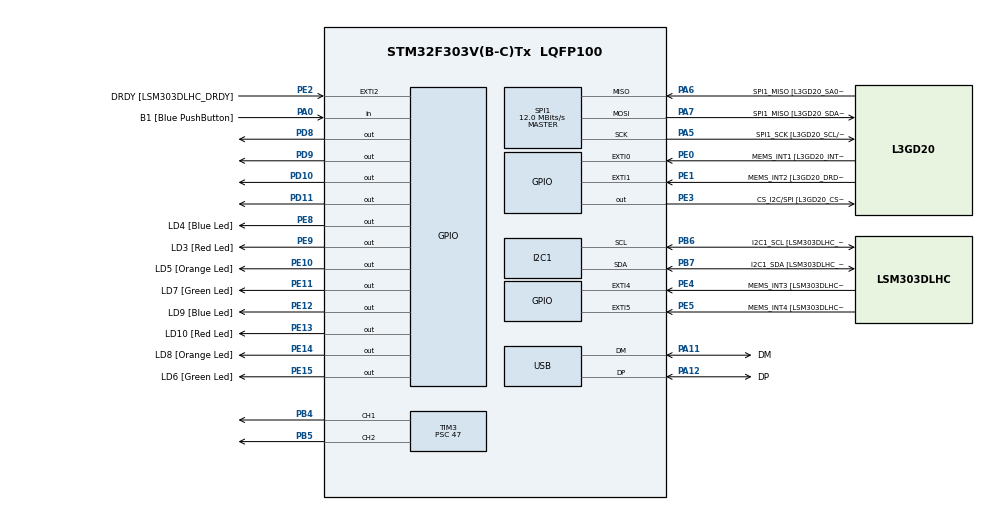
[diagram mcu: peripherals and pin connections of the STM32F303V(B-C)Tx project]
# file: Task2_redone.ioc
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I2C1.Timing=0x00201D2B
I2C1.Timing-I2C=0x2000090E
Mcu.Family=STM32F3
Mcu.Name=STM32F303V(B-C)Tx
Mcu.Package=LQFP100
NVIC.I2C1_EV_IRQn=true\:0\:0\:false\:false\:true\:true\:true\:true
NVIC.PriorityGroup=NVIC_PRIORITYGROUP_0
NVIC.TIM6_DAC_IRQn=true\:0\:0\:false\:false\:true\:true\:true\:true
PA0.GPIO_Label=B1 [Blue PushButton]
PA0.Signal=GPIO_Input
PA11.GPIO_Label=DM
PA11.Mode=Device
PA11.Signal=USB_DM
PA12.GPIO_Label=DP
PA12.Mode=Device
PA12.Signal=USB_DP
PA13.GPIO_Label=SWDIO
PA13.Mode=Serial_Wire
PA13.Signal=SYS_JTMS-SWDIO
PA14.GPIO_Label=SWCLK
PA14.Mode=Serial_Wire
PA14.Signal=SYS_JTCK-SWCLK
PA5.GPIO_Label=SPI1_SCK [L3GD20_SCL/SPC]
PA5.Mode=Full_Duplex_Master
PA5.Signal=SPI1_SCK
PA6.GPIO_Label=SPI1_MISO [L3GD20_SA0/SDO]
PA6.Mode=Full_Duplex_Master
PA6.Signal=SPI1_MISO
PA7.GPIO_Label=SPI1_MISO [L3GD20_SDA/SDI/SDO]
PA7.Mode=Full_Duplex_Master
PA7.Signal=SPI1_MOSI
PB3.GPIO_Label=SWO
PB3.Signal=SYS_JTDO-TRACESWO
PB4.Signal=S_TIM3_CH1
PB5.Signal=S_TIM3_CH2
PB6.GPIO_Label=I2C1_SCL [LSM303DLHC_SCL]
PB6.GPIO_Pu=GPIO_PULLUP
PB6.Mode=I2C
PB6.Signal=I2C1_SCL
PB7.GPIO_Label=I2C1_SDA [LSM303DLHC_SDA]
PB7.GPIO_Pu=GPIO_PULLUP
PB7.Mode=I2C
PB7.Signal=I2C1_SDA
PC14-OSC32_IN.GPIO_Label=OSC32_IN
PC14-OSC32_IN.Signal=RCC_OSC32_IN
PC15-OSC32_OUT.GPIO_Label=OSC32_OUT
PC15-OSC32_OUT.Signal=RCC_OSC32_OUT
PD10.Signal=GPIO_Output
PD11.Signal=GPIO_Output
PD8.Signal=GPIO_Output
PD9.Signal=GPIO_Output
PE0.GPIO_Label=MEMS_INT1 [L3GD20_INT1]
PE0.GPIO_ModeDefaultEXTI=GPIO_MODE_EVT_RISING
PE0.Signal=GPXTI0
PE1.GPIO_Label=MEMS_INT2 [L3GD20_DRDY/INT2]
PE1.GPIO_ModeDefaultEXTI=GPIO_MODE_EVT_RISING
PE1.Signal=GPXTI1
PE10.GPIO_Label=LD5 [Orange Led]
PE10.Signal=GPIO_Output
PE11.GPIO_Label=LD7 [Green Led]
PE11.Signal=GPIO_Output
PE12.GPIO_Label=LD9 [Blue Led]
PE12.Signal=GPIO_Output
PE13.GPIO_Label=LD10 [Red Led]
PE13.Signal=GPIO_Output
PE14.GPIO_Label=LD8 [Orange Led]
PE14.Signal=GPIO_Output
PE15.GPIO_Label=LD6 [Green Led]
PE15.Signal=GPIO_Output
PE2.GPIO_Label=DRDY [LSM303DLHC_DRDY]
PE2.GPIO_ModeDefaultEXTI=GPIO_MODE_EVT_RISING
PE2.Signal=GPXTI2
PE3.GPIO_Label=CS_I2C/SPI [L3GD20_CS_I2C/SPI]
PE3.Signal=GPIO_Output
PE4.GPIO_Label=MEMS_INT3 [LSM303DLHC_INT1]
PE4.GPIO_ModeDefaultEXTI=GPIO_MODE_EVT_RISING
PE4.Signal=GPXTI4
PE5.GPIO_Label=MEMS_INT4 [LSM303DLHC_INT2]
PE5.GPIO_ModeDefaultEXTI=GPIO_MODE_EVT_RISING
PE5.Signal=GPXTI5
PE8.GPIO_Label=LD4 [Blue Led]
PE8.Signal=GPIO_Output
PE9.GPIO_Label=LD3 [Red Led]
PE9.Signal=GPIO_Output
PF0-OSC_IN.GPIO_Label=OSC_IN
PF0-OSC_IN.Mode=HSE-External-Clock-Source
PF0-OSC_IN.Signal=RCC_OSC_IN
PF1-OSC_OUT.GPIO_Label=OSC_OUT
PF1-OSC_OUT.Signal=RCC_OSC_OUT
ProjectManager.HeapSize=0x200
ProjectManager.StackSize=0x400
ProjectManager.TargetToolchain=CMake
RCC.AHBFreq_Value=48000000
RCC.APB1CLKDivider=RCC_HCLK_DIV2
RCC.APB1Freq_Value=24000000
RCC.APB1TimFreq_Value=48000000
RCC.APB2Freq_Value=48000000
RCC.APB2TimFreq_Value=48000000
RCC.CortexFreq_Value=48000000
RCC.HCLKFreq_Value=48000000
RCC.HSE_VALUE=8000000
RCC.HSI_VALUE=8000000
RCC.LSE_VALUE=32768
RCC.PLLMUL=RCC_PLL_MUL6
RCC.SYSCLKFreq_VALUE=48000000
RCC.SYSCLKSourceVirtual=RCC_SYSCLKSOURCE_PLLCLK
RCC.USBFreq_Value=48000000
SH.S_TIM3_CH1.0=TIM3_CH1,PWM Generation1 CH1
SH.S_TIM3_CH2.0=TIM3_CH2,PWM Generation2 CH2
SPI1.BaudRatePrescaler=SPI_BAUDRATEPRESCALER_4
SPI1.BaudRatePrescaler-Full_Duplex_Master=SPI_BAUDRATEPRESCALER_2
SPI1.CalculateBaudRate=12.0 MBits/s
SPI1.CalculateBaudRate-Full_Duplex_Master=24.0 MBits/s
SPI1.DataSize=SPI_DATASIZE_8BIT
SPI1.Direction=SPI_DIRECTION_2LINES
SPI1.Mode=SPI_MODE_MASTER
SPI1.Mode-Full_Duplex_Master=SPI_MODE_MASTER
SPI1.VirtualType=VM_MASTER
TIM3.Channel-PWM\ Generation1\ CH1=TIM_CHANNEL_1
TIM3.Channel-PWM\ Generation2\ CH2=TIM_CHANNEL_2
TIM3.Period=999
TIM3.Prescaler=47
TIM6.Period=499
TIM6.Prescaler=479
VP_TIM6_VS_ClockSourceINT.Mode=Enable_Timer
board=STM32F3DISCOVERY

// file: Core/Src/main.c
/* USER CODE BEGIN Header */
/**
******************************************************************************
* @file           : main.c
* @brief          : Main program body
******************************************************************************
* @attention
*
* Copyright (c) 2026 STMicroelectronics.
* All rights reserved.
*
* This software is licensed under terms that can be found in the LICENSE file
* in the root directory of this software component.
* If no LICENSE file comes with this software, it is provided AS-IS.
*
******************************************************************************
*/
/* USER CODE END Header */
#include "main.h"
#include <stdint.h>
#include <math.h>

I2C_HandleTypeDef hi2c1;

SPI_HandleTypeDef hspi1;

TIM_HandleTypeDef htim3;
TIM_HandleTypeDef htim6;

PCD_HandleTypeDef hpcd_USB_FS;

/* USER CODE BEGIN PV */
/* Accelerometer Defines */
#define ACC_ADDR            (0x19 << 1)
#define CTRL_REG1_A         0x20
#define CTRL_REG4_A         0x23
#define OUT_X_L_A           0x28

/* Gyroscope Defines */
#define GYRO_CS_PORT        GPIOE
#define GYRO_CS_PIN         GPIO_PIN_3
#define GYRO_READ_BIT       0x80
#define GYRO_MULTI_BIT      0x40
#define CTRL_REG1_G         0x20
#define CTRL_REG4_G         0x23
#define OUT_X_L_G           0x28

/* Constants */
#define ACC_SENS            0.00098f
#define GYRO_SENS           0.00875f
#define RAD_TO_DEG          57.2957795f
#define DT                  0.005f      /* 200 Hz */
#define PWM_MAX             255.0f
#define INTEGRAL_LIMIT      300.0f

/* Peripheral Handles */
I2C_HandleTypeDef hi2c1;
SPI_HandleTypeDef hspi1;
TIM_HandleTypeDef htim3;
TIM_HandleTypeDef htim6;

/* Data Structures */
typedef struct
{
 int16_t x_raw;
 int16_t y_raw;
 int16_t z_raw;
 float x_g;
 float y_g;
 float z_g;
} AccelData;

typedef struct
{
 int16_t x_raw;
 int16_t y_raw;
 int16_t z_raw;
 float x_dps;
 float y_dps;
 float z_dps;
} GyroData;

/* Global Variables */
AccelData acc;
GyroData gyro;

volatile uint8_t sample_ready = 0;

float acc_offset = 0.0f;
float acc_angle = 0.0f;
float gyro_rate = 0.0f;
float angle = 0.0f;
float gyro_rate_filtered = 0.0f;

float setpoint = 0.8f;
float error = 0.0f;
float prev_error = 0.0f;
float integral = 0.0f;
float derivative = 0.0f;
float pid_output = 0.0f;
float derivative_filtered = 0.0f;  // global

/* PID gains */
float Kp = 20.0f;
float Ki = 0.25f;
float Kd = 0.8f;

#define PWM_MAX             60.0f
#define PWM_MIN_START       15.0f
#define TILT_ENABLE_DEG     20.0f

/* USER CODE END PV */

void SystemClock_Config(void);
static void MX_GPIO_Init(void);
static void MX_I2C1_Init(void);
static void MX_SPI1_Init(void);
static void MX_TIM3_Init(void);
static void MX_TIM6_Init(void);
static void MX_USB_PCD_Init(void);
/* USER CODE BEGIN PFP */
/* Function Prototypes */
void SystemClock_Config(void);
static void MX_GPIO_Init(void);
static void MX_I2C1_Init(void);
static void MX_SPI1_Init(void);
static void MX_TIM3_Init(void);
static void MX_TIM6_Init(void);

/* USER CODE END PFP */

/* USER CODE BEGIN 0 */
/* Accelerometer Functions */
void accel_init(void)
{
 uint8_t data;

 data = 0x57;    /* ODR = 100 Hz, all axes enabled */
 HAL_I2C_Mem_Write(&hi2c1, ACC_ADDR, CTRL_REG1_A, I2C_MEMADD_SIZE_8BIT, &data, 1, HAL_MAX_DELAY);

 data = 0x88;    /* Same as your Task 1 reference */
 HAL_I2C_Mem_Write(&hi2c1, ACC_ADDR, CTRL_REG4_A, I2C_MEMADD_SIZE_8BIT, &data, 1, HAL_MAX_DELAY);
}

void accel_read_raw(void)
{
 uint8_t buf[6];

 HAL_I2C_Mem_Read(&hi2c1, ACC_ADDR, OUT_X_L_A | 0x80, I2C_MEMADD_SIZE_8BIT, buf, 6, HAL_MAX_DELAY);

 acc.x_raw = (int16_t)((buf[1] << 8) | buf[0]);
 acc.y_raw = (int16_t)((buf[3] << 8) | buf[2]);
 acc.z_raw = (int16_t)((buf[5] << 8) | buf[4]);

 acc.x_raw >>= 4;
 acc.y_raw >>= 4;
 acc.z_raw >>= 4;
}

void accel_convert(void)
{
 acc.x_g = acc.x_raw * ACC_SENS;
 acc.y_g = acc.y_raw * ACC_SENS;
 acc.z_g = acc.z_raw * ACC_SENS;
}

/* Gyroscope Functions */
void gyro_write_register(uint8_t reg_addr, uint8_t value)
{
 uint8_t tx[2];

 tx[0] = reg_addr;
 tx[1] = value;

 HAL_GPIO_WritePin(GYRO_CS_PORT, GYRO_CS_PIN, GPIO_PIN_RESET);
 HAL_SPI_Transmit(&hspi1, tx, 2, HAL_MAX_DELAY);
 HAL_GPIO_WritePin(GYRO_CS_PORT, GYRO_CS_PIN, GPIO_PIN_SET);
}

void gyro_init(void)
{
 HAL_GPIO_WritePin(GYRO_CS_PORT, GYRO_CS_PIN, GPIO_PIN_SET);
 HAL_Delay(100);

 gyro_write_register(CTRL_REG1_G, 0x0F);   /* Power on, all axes enabled */
 gyro_write_register(CTRL_REG4_G, 0x80);   /* BDU = 1, 245 dps */
}

void gyro_read_raw(void)
{
 uint8_t tx[7];
 uint8_t rx[7];

 tx[0] = GYRO_READ_BIT | GYRO_MULTI_BIT | OUT_X_L_G;
 for (int i = 1; i < 7; i++)
 {
     tx[i] = 0x00;
 }

 HAL_GPIO_WritePin(GYRO_CS_PORT, GYRO_CS_PIN, GPIO_PIN_RESET);
 HAL_SPI_TransmitReceive(&hspi1, tx, rx, 7, HAL_MAX_DELAY);
 HAL_GPIO_WritePin(GYRO_CS_PORT, GYRO_CS_PIN, GPIO_PIN_SET);

 gyro.x_raw = (int16_t)((rx[2] << 8) | rx[1]);
 gyro.y_raw = (int16_t)((rx[4] << 8) | rx[3]);
 gyro.z_raw = (int16_t)((rx[6] << 8) | rx[5]);
}

void gyro_convert(void)
{
 gyro.x_dps = gyro.x_raw * GYRO_SENS;
 gyro.y_dps = gyro.y_raw * GYRO_SENS;
 gyro.z_dps = gyro.z_raw * GYRO_SENS;
}

/* IMU Processing with Complementary Filter (Y-axis) */
void imu_process(void)
{
 accel_read_raw();
 accel_convert();

 gyro_read_raw();
 gyro_convert(); gyro_rate_filtered = 0.7f * gyro_rate_filtered + 0.3f * gyro.y_dps;
 gyro_rate = gyro_rate_filtered;

 acc_angle = atan2f(acc.y_g, acc.z_g) * RAD_TO_DEG - acc_offset;
 // gyro_rate = gyro.y_dps;

 angle = 0.98f * (angle + gyro_rate * DT) + 0.02f * acc_angle;
}

/* Motor Functions */
/* Right motor: PD8, PD9, PB4 (TIM3 CH1) */
/* Left motor : PD10, PD11, PB5 (TIM3 CH2) */

static uint16_t speed_to_ccr(uint8_t speed)
{
 return (uint16_t)((speed * 1000U) / 255U);
}

static void RightMotor_Forward(uint8_t speed)
{
 HAL_GPIO_WritePin(GPIOD, GPIO_PIN_8, GPIO_PIN_SET);
 HAL_GPIO_WritePin(GPIOD, GPIO_PIN_9, GPIO_PIN_RESET);
 __HAL_TIM_SET_COMPARE(&htim3, TIM_CHANNEL_1, speed_to_ccr(speed));
}

static void RightMotor_Backward(uint8_t speed)
{
 HAL_GPIO_WritePin(GPIOD, GPIO_PIN_8, GPIO_PIN_RESET);
 HAL_GPIO_WritePin(GPIOD, GPIO_PIN_9, GPIO_PIN_SET);
 __HAL_TIM_SET_COMPARE(&htim3, TIM_CHANNEL_1, speed_to_ccr(speed));
}

static void RightMotor_Stop(void)
{
 HAL_GPIO_WritePin(GPIOD, GPIO_PIN_8, GPIO_PIN_SET);
 HAL_GPIO_WritePin(GPIOD, GPIO_PIN_9, GPIO_PIN_SET);
 __HAL_TIM_SET_COMPARE(&htim3, TIM_CHANNEL_1, 0);
}

static void LeftMotor_Forward(uint8_t speed)
{
 HAL_GPIO_WritePin(GPIOD, GPIO_PIN_10, GPIO_PIN_SET);
 HAL_GPIO_WritePin(GPIOD, GPIO_PIN_11, GPIO_PIN_RESET);
 __HAL_TIM_SET_COMPARE(&htim3, TIM_CHANNEL_2, speed_to_ccr(speed));
}

static void LeftMotor_Backward(uint8_t speed)
{
 HAL_GPIO_WritePin(GPIOD, GPIO_PIN_10, GPIO_PIN_RESET);
 HAL_GPIO_WritePin(GPIOD, GPIO_PIN_11, GPIO_PIN_SET);
 __HAL_TIM_SET_COMPARE(&htim3, TIM_CHANNEL_2, speed_to_ccr(speed));
}

static void LeftMotor_Stop(void)
{
 HAL_GPIO_WritePin(GPIOD, GPIO_PIN_10, GPIO_PIN_SET);
 HAL_GPIO_WritePin(GPIOD, GPIO_PIN_11, GPIO_PIN_SET);
 __HAL_TIM_SET_COMPARE(&htim3, TIM_CHANNEL_2, 0);
}

static void Motors_Stop(void)
{
 RightMotor_Stop();
 LeftMotor_Stop();
}

static void Motors_Forward(uint8_t speed)
{
 RightMotor_Forward(speed);
 LeftMotor_Forward(speed);
}

static void Motors_Backward(uint8_t speed)
{
 RightMotor_Backward(speed);
 LeftMotor_Backward(speed);
}

/* PID Functions */
static float clamp_float(float value, float min_val, float max_val)
{
 if (value > max_val) return max_val;
 if (value < min_val) return min_val;
 return value;
}

void pid_compute_and_drive(void)
{
 error = setpoint - angle;
 if ((error > 0.0f && prev_error < 0.0f) || (error < 0.0f && prev_error > 0.0f))
 {
     integral = 0.0f;
 }
 // if (fabsf(error) < 0.5f)
 // {
 //     error = 0.0f;
 //     integral = 0.0f;
 // }

 /* safety: stop if tilt is too large */
 if (fabsf(angle) > TILT_ENABLE_DEG)
 {
     Motors_Stop();
     integral = 0.0f;
     prev_error = error;
     return;
 }

 integral += error * DT;
 integral = clamp_float(integral, -10.0f, 10.0f);

 // derivative = (error - prev_error) / DT;
 float raw_deriv = (error - prev_error) / DT;
 derivative_filtered = 0.85f * derivative_filtered + 0.15f * raw_deriv;
 derivative = derivative_filtered;

 pid_output = (Kp * error) + (Ki * integral) + (Kd * derivative);
 pid_output = clamp_float(pid_output, -PWM_MAX, PWM_MAX);

 prev_error = error;

 /* deadband / minimum useful motor drive */
 if (pid_output > 0.0f)
 {
     float cmd = pid_output;
     if (cmd < PWM_MIN_START) cmd = PWM_MIN_START;
     Motors_Forward((uint8_t)cmd);

 }
 else if (pid_output < 0.0f)
 {
     float cmd = -pid_output;
     if (cmd < PWM_MIN_START) cmd = PWM_MIN_START;
     Motors_Backward((uint8_t)cmd);
 }
 else
 {
     Motors_Stop();
 }
}

/* Timer Interrupt Callback */
void HAL_TIM_PeriodElapsedCallback(TIM_HandleTypeDef *htim)
{
 if (htim->Instance == TIM6)
 {
     sample_ready = 1;
 }
}

/* USER CODE END 0 */

int main(void)
{

/* Reset of all peripherals, Initializes the Flash interface and the Systick. */HAL_Init();

/* Configure the system clock */
SystemClock_Config();

/* Initialize all configured peripherals */
MX_GPIO_Init();
MX_I2C1_Init();
MX_SPI1_Init();
MX_TIM3_Init();
MX_TIM6_Init();
MX_USB_PCD_Init();
/* USER CODE BEGIN 2 */
 HAL_Delay(100);

 HAL_TIM_PWM_Start(&htim3, TIM_CHANNEL_1);
 HAL_TIM_PWM_Start(&htim3, TIM_CHANNEL_2);

 Motors_Stop();

 accel_init();
 gyro_init();

 accel_read_raw();
 accel_convert();
 acc_offset = atan2f(acc.y_g, acc.z_g) * RAD_TO_DEG;

 angle = 0.0f;
 acc_angle = 0.0f;
 gyro_rate = 0.0f;

 error = 0.0f;
 prev_error = 0.0f;
 integral = 0.0f;
 derivative = 0.0f;
 pid_output = 0.0f;

  // HAL_Delay(2000);        /* 2 second wait so you can get multimeter ready */
  // Motors_Backward(60);    /* force backward at speed 60 */
  // HAL_Delay(5000);        /* hold backward for 5 seconds */
  // Motors_Stop();

 HAL_TIM_Base_Start_IT(&htim6);

/* USER CODE END 2 */

/* Infinite loop */
/* USER CODE BEGIN WHILE */
while (1)
{
  if (sample_ready)
     {
         sample_ready = 0;

         imu_process();
         pid_compute_and_drive();
       if (angle > 0.0f)
         HAL_GPIO_WritePin(GPIOE, LD3_Pin, GPIO_PIN_SET);
       else
         HAL_GPIO_WritePin(GPIOE, LD3_Pin, GPIO_PIN_RESET);

     }
 }

 /* USER CODE END WHILE */

}

void SystemClock_Config(void)
{
RCC_OscInitTypeDef RCC_OscInitStruct = {0};
RCC_ClkInitTypeDef RCC_ClkInitStruct = {0};
RCC_PeriphCLKInitTypeDef PeriphClkInit = {0};

/** Initializes the RCC Oscillators according to the specified parameters
* in the RCC_OscInitTypeDef structure.
*/
RCC_OscInitStruct.OscillatorType = RCC_OSCILLATORTYPE_HSI|RCC_OSCILLATORTYPE_HSE;
RCC_OscInitStruct.HSEState = RCC_HSE_BYPASS;
RCC_OscInitStruct.HSEPredivValue = RCC_HSE_PREDIV_DIV1;
RCC_OscInitStruct.HSIState = RCC_HSI_ON;
RCC_OscInitStruct.HSICalibrationValue = RCC_HSICALIBRATION_DEFAULT;
RCC_OscInitStruct.PLL.PLLState = RCC_PLL_ON;
RCC_OscInitStruct.PLL.PLLSource = RCC_PLLSOURCE_HSE;
RCC_OscInitStruct.PLL.PLLMUL = RCC_PLL_MUL6;
if (HAL_RCC_OscConfig(&RCC_OscInitStruct) != HAL_OK)
{
 Error_Handler();
}

/** Initializes the CPU, AHB and APB buses clocks
*/
RCC_ClkInitStruct.ClockType = RCC_CLOCKTYPE_HCLK|RCC_CLOCKTYPE_SYSCLK
                           |RCC_CLOCKTYPE_PCLK1|RCC_CLOCKTYPE_PCLK2;
RCC_ClkInitStruct.SYSCLKSource = RCC_SYSCLKSOURCE_PLLCLK;
RCC_ClkInitStruct.AHBCLKDivider = RCC_SYSCLK_DIV1;
RCC_ClkInitStruct.APB1CLKDivider = RCC_HCLK_DIV2;
RCC_ClkInitStruct.APB2CLKDivider = RCC_HCLK_DIV1;

if (HAL_RCC_ClockConfig(&RCC_ClkInitStruct, FLASH_LATENCY_1) != HAL_OK)
{
 Error_Handler();
}
PeriphClkInit.PeriphClockSelection = RCC_PERIPHCLK_USB|RCC_PERIPHCLK_I2C1;
PeriphClkInit.I2c1ClockSelection = RCC_I2C1CLKSOURCE_HSI;
PeriphClkInit.USBClockSelection = RCC_USBCLKSOURCE_PLL;
if (HAL_RCCEx_PeriphCLKConfig(&PeriphClkInit) != HAL_OK)
{
 Error_Handler();
}
}

static void MX_I2C1_Init(void)
{

hi2c1.Instance = I2C1;
hi2c1.Init.Timing = 0x00201D2B;
hi2c1.Init.OwnAddress1 = 0;
hi2c1.Init.AddressingMode = I2C_ADDRESSINGMODE_7BIT;
hi2c1.Init.DualAddressMode = I2C_DUALADDRESS_DISABLE;
hi2c1.Init.OwnAddress2 = 0;
hi2c1.Init.OwnAddress2Masks = I2C_OA2_NOMASK;
hi2c1.Init.GeneralCallMode = I2C_GENERALCALL_DISABLE;
hi2c1.Init.NoStretchMode = I2C_NOSTRETCH_DISABLE;
if (HAL_I2C_Init(&hi2c1) != HAL_OK)
{
 Error_Handler();
}

/** Configure Analogue filter
*/
if (HAL_I2CEx_ConfigAnalogFilter(&hi2c1, I2C_ANALOGFILTER_ENABLE) != HAL_OK)
{
 Error_Handler();
}

/** Configure Digital filter
*/
if (HAL_I2CEx_ConfigDigitalFilter(&hi2c1, 0) != HAL_OK)
{
 Error_Handler();
}

}

static void MX_SPI1_Init(void)
{

/* SPI1 parameter configuration*/
hspi1.Instance = SPI1;
hspi1.Init.Mode = SPI_MODE_MASTER;
hspi1.Init.Direction = SPI_DIRECTION_2LINES;
hspi1.Init.DataSize = SPI_DATASIZE_8BIT;
hspi1.Init.CLKPolarity = SPI_POLARITY_LOW;
hspi1.Init.CLKPhase = SPI_PHASE_1EDGE;
hspi1.Init.NSS = SPI_NSS_SOFT;
hspi1.Init.BaudRatePrescaler = SPI_BAUDRATEPRESCALER_4;
hspi1.Init.FirstBit = SPI_FIRSTBIT_MSB;
hspi1.Init.TIMode = SPI_TIMODE_DISABLE;
hspi1.Init.CRCCalculation = SPI_CRCCALCULATION_DISABLE;
hspi1.Init.CRCPolynomial = 7;
hspi1.Init.CRCLength = SPI_CRC_LENGTH_DATASIZE;
hspi1.Init.NSSPMode = SPI_NSS_PULSE_ENABLE;
if (HAL_SPI_Init(&hspi1) != HAL_OK)
{
 Error_Handler();
}

}

static void MX_TIM3_Init(void)
{

TIM_MasterConfigTypeDef sMasterConfig = {0};
TIM_OC_InitTypeDef sConfigOC = {0};

htim3.Instance = TIM3;
htim3.Init.Prescaler = 47;
htim3.Init.CounterMode = TIM_COUNTERMODE_UP;
htim3.Init.Period = 999;
htim3.Init.ClockDivision = TIM_CLOCKDIVISION_DIV1;
htim3.Init.AutoReloadPreload = TIM_AUTORELOAD_PRELOAD_DISABLE;
if (HAL_TIM_PWM_Init(&htim3) != HAL_OK)
{
 Error_Handler();
}
sMasterConfig.MasterOutputTrigger = TIM_TRGO_RESET;
sMasterConfig.MasterSlaveMode = TIM_MASTERSLAVEMODE_DISABLE;
if (HAL_TIMEx_MasterConfigSynchronization(&htim3, &sMasterConfig) != HAL_OK)
{
 Error_Handler();
}
sConfigOC.OCMode = TIM_OCMODE_PWM1;
sConfigOC.Pulse = 0;
sConfigOC.OCPolarity = TIM_OCPOLARITY_HIGH;
sConfigOC.OCFastMode = TIM_OCFAST_DISABLE;
if (HAL_TIM_PWM_ConfigChannel(&htim3, &sConfigOC, TIM_CHANNEL_1) != HAL_OK)
{
 Error_Handler();
}
if (HAL_TIM_PWM_ConfigChannel(&htim3, &sConfigOC, TIM_CHANNEL_2) != HAL_OK)
{
 Error_Handler();
}
HAL_TIM_MspPostInit(&htim3);

}

static void MX_TIM6_Init(void)
{

TIM_MasterConfigTypeDef sMasterConfig = {0};

htim6.Instance = TIM6;
htim6.Init.Prescaler = 479;
htim6.Init.CounterMode = TIM_COUNTERMODE_UP;
htim6.Init.Period = 499;
htim6.Init.AutoReloadPreload = TIM_AUTORELOAD_PRELOAD_DISABLE;
if (HAL_TIM_Base_Init(&htim6) != HAL_OK)
{
 Error_Handler();
}
sMasterConfig.MasterOutputTrigger = TIM_TRGO_RESET;
sMasterConfig.MasterSlaveMode = TIM_MASTERSLAVEMODE_DISABLE;
if (HAL_TIMEx_MasterConfigSynchronization(&htim6, &sMasterConfig) != HAL_OK)
{
 Error_Handler();
}

}

static void MX_USB_PCD_Init(void)
{

hpcd_USB_FS.Instance = USB;
hpcd_USB_FS.Init.dev_endpoints = 8;
hpcd_USB_FS.Init.speed = PCD_SPEED_FULL;
hpcd_USB_FS.Init.phy_itface = PCD_PHY_EMBEDDED;
hpcd_USB_FS.Init.low_power_enable = DISABLE;
hpcd_USB_FS.Init.battery_charging_enable = DISABLE;
if (HAL_PCD_Init(&hpcd_USB_FS) != HAL_OK)
{
 Error_Handler();
}

}

static void MX_GPIO_Init(void)
{
GPIO_InitTypeDef GPIO_InitStruct = {0};

/* GPIO Ports Clock Enable */
__HAL_RCC_GPIOE_CLK_ENABLE();
__HAL_RCC_GPIOC_CLK_ENABLE();
__HAL_RCC_GPIOF_CLK_ENABLE();
__HAL_RCC_GPIOA_CLK_ENABLE();
__HAL_RCC_GPIOD_CLK_ENABLE();
__HAL_RCC_GPIOB_CLK_ENABLE();

/*Configure GPIO pin Output Level */
HAL_GPIO_WritePin(GPIOE, CS_I2C_SPI_Pin|LD4_Pin|LD3_Pin|LD5_Pin
                       |LD7_Pin|LD9_Pin|LD10_Pin|LD8_Pin
                       |LD6_Pin, GPIO_PIN_RESET);

/*Configure GPIO pin Output Level */
HAL_GPIO_WritePin(GPIOD, GPIO_PIN_8|GPIO_PIN_9|GPIO_PIN_10|GPIO_PIN_11, GPIO_PIN_RESET);

/*Configure GPIO pins : DRDY_Pin MEMS_INT3_Pin MEMS_INT4_Pin MEMS_INT1_Pin
                        MEMS_INT2_Pin */
GPIO_InitStruct.Pin = DRDY_Pin|MEMS_INT3_Pin|MEMS_INT4_Pin|MEMS_INT1_Pin
                       |MEMS_INT2_Pin;
GPIO_InitStruct.Mode = GPIO_MODE_EVT_RISING;
GPIO_InitStruct.Pull = GPIO_NOPULL;
HAL_GPIO_Init(GPIOE, &GPIO_InitStruct);

/*Configure GPIO pins : CS_I2C_SPI_Pin LD4_Pin LD3_Pin LD5_Pin
                        LD7_Pin LD9_Pin LD10_Pin LD8_Pin
                        LD6_Pin */
GPIO_InitStruct.Pin = CS_I2C_SPI_Pin|LD4_Pin|LD3_Pin|LD5_Pin
                       |LD7_Pin|LD9_Pin|LD10_Pin|LD8_Pin
                       |LD6_Pin;
GPIO_InitStruct.Mode = GPIO_MODE_OUTPUT_PP;
GPIO_InitStruct.Pull = GPIO_NOPULL;
GPIO_InitStruct.Speed = GPIO_SPEED_FREQ_LOW;
HAL_GPIO_Init(GPIOE, &GPIO_InitStruct);

/*Configure GPIO pin : B1_Pin */
GPIO_InitStruct.Pin = B1_Pin;
GPIO_InitStruct.Mode = GPIO_MODE_INPUT;
GPIO_InitStruct.Pull = GPIO_NOPULL;
HAL_GPIO_Init(B1_GPIO_Port, &GPIO_InitStruct);

/*Configure GPIO pins : PD8 PD9 PD10 PD11 */
GPIO_InitStruct.Pin = GPIO_PIN_8|GPIO_PIN_9|GPIO_PIN_10|GPIO_PIN_11;
GPIO_InitStruct.Mode = GPIO_MODE_OUTPUT_PP;
GPIO_InitStruct.Pull = GPIO_NOPULL;
GPIO_InitStruct.Speed = GPIO_SPEED_FREQ_LOW;
HAL_GPIO_Init(GPIOD, &GPIO_InitStruct);

}

void Error_Handler(void)
{
__disable_irq();
while (1)
{
}
}
